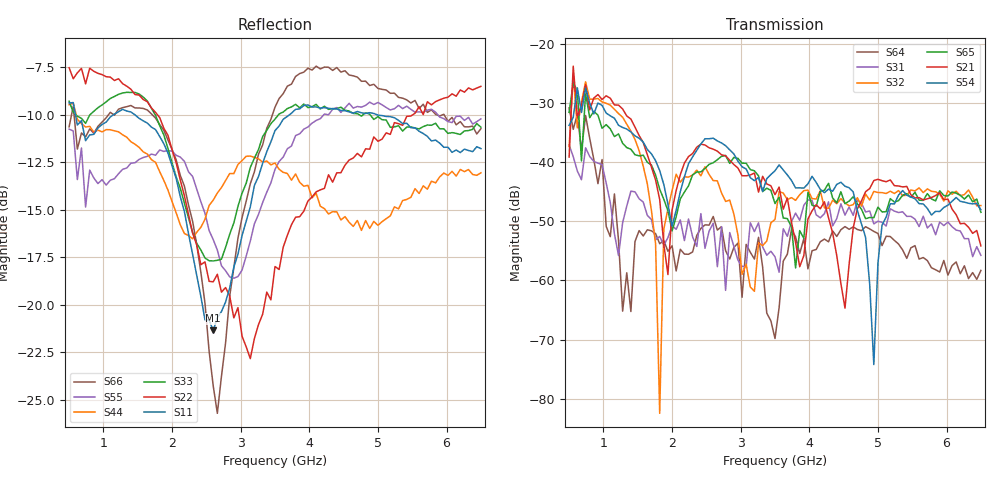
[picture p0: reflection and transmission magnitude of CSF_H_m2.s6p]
!Keysight Technologies,M9804A,MY58100912,A.14.10.03
!Date: Thursday, April 27, 2023 10:28:33
!Correction: S11(C  6-Port  )
!S12(C  6-Port  )
!S13(C  6-Port  )
!S14(C  6-Port  )
!S15(C  6-Port  )
!S16(C  6-Port  )
!S21(C  6-Port  )
!S22(C  6-Port  )
!S23(C  6-Port  )
!S24(C  6-Port  )
!S25(C  6-Port  )
!S26(C  6-Port  )
!S31(C  6-Port  )
!S32(C  6-Port  )
!S33(C  6-Port  )
!S34(C  6-Port  )
!S35(C  6-Port  )
!S36(C  6-Port  )
!S41(C  6-Port  )
!S42(C  6-Port  )
!S43(C  6-Port  )
!S44(C  6-Port  )
!S45(C  6-Port  )
!S46(C  6-Port  )
!S51(C  6-Port  )
!S52(C  6-Port  )
!S53(C  6-Port  )
!S54(C  6-Port  )
!S55(C  6-Port  )
!S56(C  6-Port  )
!S61(C  6-Port  )
!S62(C  6-Port  )
!S63(C  6-Port  )
!S64(C  6-Port  )
!S65(C  6-Port  )
!S66(C  6-Port  )
!S6P File: Measurement: :
# Hz S  RI  R 50
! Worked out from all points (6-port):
!   101 points, 500 MHz to 6.5 GHz, reference 50 ohm
!   strongest paths, dB at 500 MHz, 2 GHz, 3.5 GHz, 5 GHz, 6.5 GHz:
!     S54: -33.7, -50.8, -41.4, -57.0, -48.0
!     S21: -39.1, -48.1, -45.5, -42.9, -54.1
!     S65: -31.5, -51.6, -47.0, -47.6, -48.5
!     S32: -37.3, -44.8, -49.7, -45.1, -47.3
!     S31: -37.0, -50.7, -56.0, -50.0, -55.7
!     S64: -30.8, -54.1, -69.8, -52.0, -58.3
!   lowest |S11| = -21.4 dB at 2.6 GHz (marker M1), VSWR 1.19, Z = 42.4 + j2.3 ohm
!   |S11| at or under -10 dB: 592.7 MHz to 1.146 GHz (552.9 MHz wide, 63.6 % of centre); 1.459 GHz to 3.71 GHz (2.251 GHz wide, 87.1 % of centre); 4.988 GHz to end of sweep
